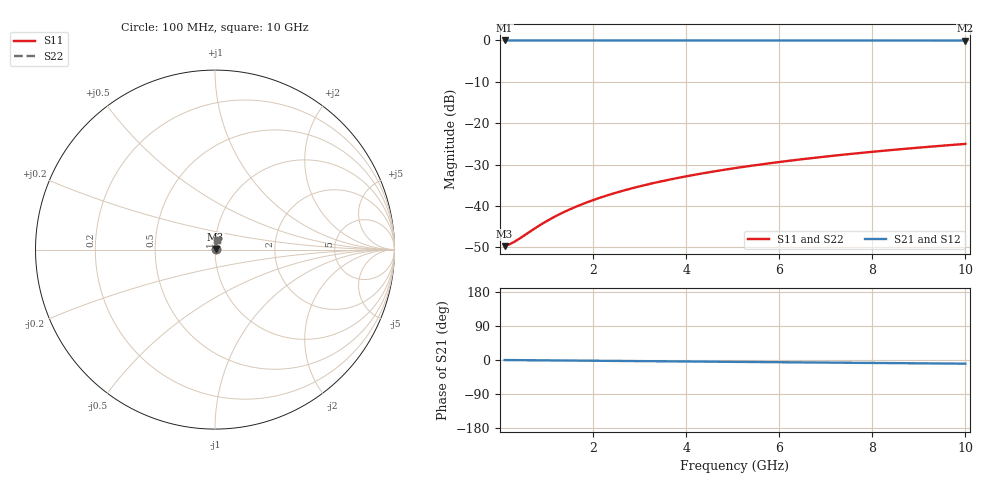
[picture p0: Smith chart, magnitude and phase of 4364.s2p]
# Hz S RI R 50.00
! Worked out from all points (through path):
!   100 points, 100 MHz to 10 GHz, reference 50 ohm
!   highest |S21| = -0.03 dB at 100 MHz (marker M1); lowest = 0.0 dB at 10 GHz (marker M2)
!   group delay of S21, straight-line fit = 2.7 ps
!   lowest |S11| = -49.7 dB at 100 MHz (marker M3), VSWR 1.01, Z = 50.3 + j0.0562 ohm
!   |S11| at or under -10 dB: start of sweep to end of sweep
!   |S22| runs from -49.7 to -25.0 dB; largest |S21 - S12| = 0
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1e8  0.00322 0.000558  0.9968 -0.00169  0.9968 -0.00169  0.00322 0.000558
2e8  0.00325 0.00112  0.9967 -0.00338  0.9967 -0.00338  0.00325 0.00112
3e8  0.00327 0.00168  0.9967 -0.00507  0.9967 -0.00507  0.00327 0.00168
4e8  0.00329 0.00223  0.9967 -0.00676  0.9967 -0.00676  0.00329 0.00223
8e8  0.00337 0.00447  0.9966 -0.0135  0.9966 -0.0135  0.00337 0.00447
1.1e9  0.00344 0.00614  0.9965 -0.0186  0.9965 -0.0186  0.00344 0.00614
1.4e9  0.00353 0.00781  0.9963 -0.0236  0.9963 -0.0236  0.00353 0.00781
1.6e9  0.00359 0.00893  0.9962 -0.027  0.9962 -0.027  0.00359 0.00893
1.8e9  0.00367 0.01  0.9961 -0.0304  0.9961 -0.0304  0.00367 0.01
2.1e9  0.00379 0.0117  0.9959 -0.0355  0.9959 -0.0355  0.00379 0.0117
2.5e9  0.00398 0.0139  0.9956 -0.0422  0.9956 -0.0422  0.00398 0.0139
2.9e9  0.0042 0.0162  0.9952 -0.0489  0.9952 -0.0489  0.0042 0.0162
3.4e9  0.00451 0.0189  0.9947 -0.0574  0.9947 -0.0574  0.00451 0.0189
3.8e9  0.00479 0.0211  0.9942 -0.0641  0.9942 -0.0641  0.00479 0.0211
4.2e9  0.00511 0.0234  0.9937 -0.0708  0.9937 -0.0708  0.00511 0.0234
4.6e9  0.00545 0.0256  0.9931 -0.0776  0.9931 -0.0776  0.00545 0.0256
5.1e9  0.00592 0.0283  0.9924 -0.086  0.9924 -0.086  0.00592 0.0283
5.9e9  0.00677 0.0327  0.9909 -0.0994  0.9909 -0.0994  0.00677 0.0327
6.7e9  0.00774 0.037  0.9893 -0.1128  0.9893 -0.1128  0.00774 0.037
7.5e9  0.00882 0.0414  0.9875 -0.1262  0.9875 -0.1262  0.00882 0.0414
8.4e9  0.0102 0.0462  0.9852 -0.1412  0.9852 -0.1412  0.0102 0.0462
1e10  0.013 0.0547  0.9805 -0.1678  0.9805 -0.1678  0.013 0.0547
